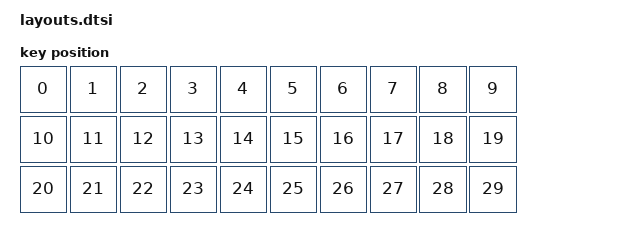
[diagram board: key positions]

#include <physical_layouts.dtsi>
/ {
    chosen {
        zmk,kscan = &kscan0;
        zmk,battery = &non_lipo_battery;
    };

    physical_layout0: physical_layout0 {
        compatible = "zmk,physical-layout";
        display-name = "Layout";
        keys
              //                   w   h   x   y rot rx ry
            = <&key_physical_attrs 100 100 0   0 0 0 0>
			, <&key_physical_attrs 100 100 100 0 0 0 0>
			, <&key_physical_attrs 100 100 200 0 0 0 0>
			, <&key_physical_attrs 100 100 300 0 0 0 0>
			, <&key_physical_attrs 100 100 400 0 0 0 0>
			, <&key_physical_attrs 100 100 500 0 0 0 0>
			, <&key_physical_attrs 100 100 600 0 0 0 0>
			, <&key_physical_attrs 100 100 700 0 0 0 0>
			, <&key_physical_attrs 100 100 800 0 0 0 0>
			, <&key_physical_attrs 100 100 900 0 0 0 0>
			, <&key_physical_attrs 100 100 0   100 0 0 0>
			, <&key_physical_attrs 100 100 100 100 0 0 0>
			, <&key_physical_attrs 100 100 200 100 0 0 0>
			, <&key_physical_attrs 100 100 300 100 0 0 0>
			, <&key_physical_attrs 100 100 400 100 0 0 0>
			, <&key_physical_attrs 100 100 500 100 0 0 0>
			, <&key_physical_attrs 100 100 600 100 0 0 0>
			, <&key_physical_attrs 100 100 700 100 0 0 0>
			, <&key_physical_attrs 100 100 800 100 0 0 0>
			, <&key_physical_attrs 100 100 900 100 0 0 0>
			, <&key_physical_attrs 100 100 0   200 0 0 0>
			, <&key_physical_attrs 100 100 100 200 0 0 0>
			, <&key_physical_attrs 100 100 200 200 0 0 0>
			, <&key_physical_attrs 100 100 300 200 0 0 0>
			, <&key_physical_attrs 100 100 400 200 0 0 0>
			, <&key_physical_attrs 100 100 500 200 0 0 0>
			, <&key_physical_attrs 100 100 600 200 0 0 0>
			, <&key_physical_attrs 100 100 700 200 0 0 0>
			, <&key_physical_attrs 100 100 800 200 0 0 0>
			, <&key_physical_attrs 100 100 900 200 0 0 0>
            ;
    };

    vbatt: vbatt {
        // Disable default battery monitoring
        status = "disabled";
    };
    non_lipo_battery: non_lipo_battery {
        compatible = "zmk,non-lipo-battery";
        io-channels = <&adc 3>; 
    };

};
